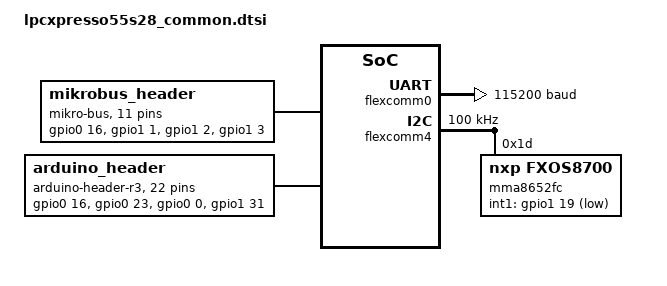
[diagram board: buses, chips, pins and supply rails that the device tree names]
/*
 * Copyright (c) 2020 Lemonbeat GmbH
 *
 * SPDX-License-Identifier: Apache-2.0
 */

#include "lpcxpresso55s28-pinctrl.dtsi"
#include <zephyr/dt-bindings/gpio/arduino-header-r3.h>

/ {
	aliases{
		led0 = &red_led;
		led1 = &green_led;
		led2 = &blue_led;
		spi-8 = &hs_lspi;
		usart-0 = &flexcomm0;
		accel0 = &mma8652fc;
	};

	leds {
		compatible = "gpio-leds";
		green_led: led_1 {
			gpios = <&gpio1 7 0>;
			label = "User LD2";
			status = "disabled";
		};
		blue_led: led_2 {
			gpios = <&gpio1 4 0>;
			label = "User LD3";
			status = "disabled";
		};
		red_led: led_3 {
			gpios = <&gpio1 6 0>;
			label = "User LD4";
			status = "disabled";
		};
	};

	mikrobus_header: mikrobus-connector {
		compatible = "mikro-bus";
		#gpio-cells = <2>;
		gpio-map-mask = <0xffffffff 0xffffffc0>;
		gpio-map-pass-thru = <0 0x3f>;
		gpio-map =	<0 0 &gpio0 16 0>,	/* AN  */
				/* Not a GPIO*/		/* RST */
				<2 0 &gpio1 1 0>,	/* CS   */
				<3 0 &gpio1 2 0>,	/* SCK  */
				<4 0 &gpio1 3 0>,	/* MISO */
				<5 0 &gpio0 26 0>,	/* MOSI */
							/* +3.3V */
							/* GND */
				<6 0 &gpio1 5 0>,	/* PWM  */
				<7 0 &gpio1 18 0>,	/* INT  */
				<8 0 &gpio1 24 0>,	/* RX   */
				<9 0 &gpio0 27 0>,	/* TX   */
				<10 0 &gpio1 20 0>,	/* SCL  */
				<11 0 &gpio1 21 0>;	/* SDA  */
							/* +5V */
							/* GND */
	};

	arduino_header: arduino-connector {
		compatible = "arduino-header-r3";
		#gpio-cells = <2>;
		gpio-map-mask = <0xffffffff 0xffffffc0>;
		gpio-map-pass-thru = <0 0x3f>;
		gpio-map =	<ARDUINO_HEADER_R3_A0 0 &gpio0 16 0>,
				<ARDUINO_HEADER_R3_A1 0 &gpio0 23 0>,
				<ARDUINO_HEADER_R3_A2 0 &gpio0 0 0>,
				<ARDUINO_HEADER_R3_A3 0 &gpio1 31 0>,
				<ARDUINO_HEADER_R3_A4 0 &gpio0 13 0>,
				<ARDUINO_HEADER_R3_A5 0 &gpio0 14 0>,
				<ARDUINO_HEADER_R3_D0 0 &gpio1 24 0>,
				<ARDUINO_HEADER_R3_D1 0 &gpio0 27 0>,
				<ARDUINO_HEADER_R3_D2 0 &gpio0 15 0>,
				<ARDUINO_HEADER_R3_D3 0 &gpio1 6 0>,
				<ARDUINO_HEADER_R3_D4 0 &gpio1 7 0>,
				<ARDUINO_HEADER_R3_D5 0 &gpio1 4 0>,
				<ARDUINO_HEADER_R3_D6 0 &gpio1 10 0>,
				<ARDUINO_HEADER_R3_D7 0 &gpio1 9 0>,
				<ARDUINO_HEADER_R3_D8 0 &gpio1 8 0>,
				<ARDUINO_HEADER_R3_D9 0 &gpio1 5 0>,
				<ARDUINO_HEADER_R3_D10 0 &gpio1 1 0>,
				<ARDUINO_HEADER_R3_D11 0 &gpio0 26 0>,
				<ARDUINO_HEADER_R3_D12 0 &gpio1 3 0>,
				<ARDUINO_HEADER_R3_D13 0 &gpio1 2 0>,
				<ARDUINO_HEADER_R3_D14 0 &gpio1 21 0>,
				<ARDUINO_HEADER_R3_D15 0 &gpio1 20 0>;
	};
};

&flexcomm0 {
	compatible = "nxp,lpc-usart";
	current-speed = <115200>;
	pinctrl-0 = <&pinmux_flexcomm0_usart>;
	pinctrl-names = "default";
	dmas = <&dma0 4>, <&dma0 5>;
	dma-names = "rx", "tx";
};

arduino_i2c: &flexcomm4 {
	compatible = "nxp,lpc-i2c";
	clock-frequency = <I2C_BITRATE_STANDARD>;
	#address-cells = <1>;
	#size-cells = <0>;
	pinctrl-0 = <&pinmux_flexcomm4_i2c>;
	pinctrl-names = "default";

	mma8652fc: mma8652fc@1d {
		compatible = "nxp,fxos8700","nxp,mma8652fc";
		reg = <0x1d>;
		int1-gpios = <&gpio1 19 (GPIO_ACTIVE_LOW | GPIO_PULL_UP)>;
	};
};

arduino_spi: &hs_lspi {
	pinctrl-0 = <&pinmux_hs_lspi>;
	pinctrl-names = "default";
};

arduino_gpio: &gpio1 {
};

mikrobus_spi: &hs_lspi {
};
